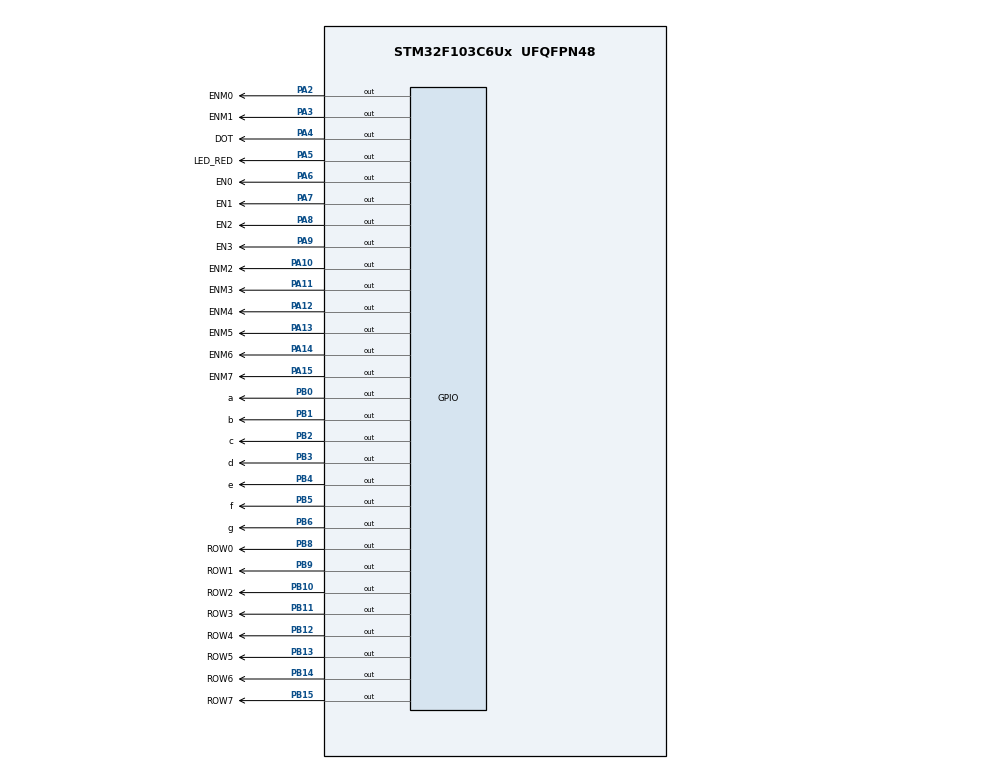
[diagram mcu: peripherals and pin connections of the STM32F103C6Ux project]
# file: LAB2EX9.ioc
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Mcu.Family=STM32F1
Mcu.Name=STM32F103C6Ux
Mcu.Package=UFQFPN48
NVIC.PriorityGroup=NVIC_PRIORITYGROUP_4
NVIC.TIM2_IRQn=true\:0\:0\:false\:false\:true\:true\:true
PA10.GPIO_Label=ENM2
PA10.Signal=GPIO_Output
PA11.GPIO_Label=ENM3
PA11.Signal=GPIO_Output
PA12.GPIO_Label=ENM4
PA12.Signal=GPIO_Output
PA13.GPIO_Label=ENM5
PA13.Signal=GPIO_Output
PA14.GPIO_Label=ENM6
PA14.Signal=GPIO_Output
PA15.GPIO_Label=ENM7
PA15.Signal=GPIO_Output
PA2.GPIO_Label=ENM0
PA2.Signal=GPIO_Output
PA3.GPIO_Label=ENM1
PA3.Signal=GPIO_Output
PA4.GPIO_Label=DOT
PA4.Signal=GPIO_Output
PA5.GPIO_Label=LED_RED
PA5.Signal=GPIO_Output
PA6.GPIO_Label=EN0
PA6.Signal=GPIO_Output
PA7.GPIO_Label=EN1
PA7.Signal=GPIO_Output
PA8.GPIO_Label=EN2
PA8.Signal=GPIO_Output
PA9.GPIO_Label=EN3
PA9.Signal=GPIO_Output
PB0.GPIO_Label=a
PB0.Signal=GPIO_Output
PB1.GPIO_Label=b
PB1.Signal=GPIO_Output
PB10.GPIO_Label=ROW2
PB10.Signal=GPIO_Output
PB11.GPIO_Label=ROW3
PB11.Signal=GPIO_Output
PB12.GPIO_Label=ROW4
PB12.Signal=GPIO_Output
PB13.GPIO_Label=ROW5
PB13.Signal=GPIO_Output
PB14.GPIO_Label=ROW6
PB14.Signal=GPIO_Output
PB15.GPIO_Label=ROW7
PB15.Signal=GPIO_Output
PB2.GPIO_Label=c
PB2.Signal=GPIO_Output
PB3.GPIO_Label=d
PB3.Signal=GPIO_Output
PB4.GPIO_Label=e
PB4.Signal=GPIO_Output
PB5.GPIO_Label=f
PB5.Signal=GPIO_Output
PB6.GPIO_Label=g
PB6.Signal=GPIO_Output
PB8.GPIO_Label=ROW0
PB8.Signal=GPIO_Output
PB9.GPIO_Label=ROW1
PB9.Signal=GPIO_Output
ProjectManager.HeapSize=0x200
ProjectManager.StackSize=0x400
ProjectManager.TargetToolchain=STM32CubeIDE
RCC.APB1Freq_Value=8000000
RCC.APB2Freq_Value=8000000
TIM2.Period=9
TIM2.Prescaler=7999
VP_SYS_VS_ND.Mode=No_Debug
VP_TIM2_VS_ClockSourceINT.Mode=Internal
board=custom

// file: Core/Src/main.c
/* USER CODE BEGIN Header */
/**
  ******************************************************************************
  * @file           : main.c
  * @brief          : Main program body
  ******************************************************************************
  */
/* USER CODE END Header */

#include "main.h"

TIM_HandleTypeDef htim2;

void SystemClock_Config(void);
static void MX_GPIO_Init(void);
static void MX_TIM2_Init(void);

/* USER CODE BEGIN 0 */

void display7SEG(int num)
{
    switch (num)
    {
    case 0:
        HAL_GPIO_WritePin(GPIOB, a_Pin, GPIO_PIN_RESET);
        HAL_GPIO_WritePin(GPIOB, b_Pin, GPIO_PIN_RESET);
        HAL_GPIO_WritePin(GPIOB, c_Pin, GPIO_PIN_RESET);
        HAL_GPIO_WritePin(GPIOB, d_Pin, GPIO_PIN_RESET);
        HAL_GPIO_WritePin(GPIOB, e_Pin, GPIO_PIN_RESET);
        HAL_GPIO_WritePin(GPIOB, f_Pin, GPIO_PIN_RESET);
        HAL_GPIO_WritePin(GPIOB, g_Pin, GPIO_PIN_SET);
        break;

    case 1:
        HAL_GPIO_WritePin(GPIOB, a_Pin, GPIO_PIN_SET);
        HAL_GPIO_WritePin(GPIOB, b_Pin, GPIO_PIN_RESET);
        HAL_GPIO_WritePin(GPIOB, c_Pin, GPIO_PIN_RESET);
        HAL_GPIO_WritePin(GPIOB, d_Pin, GPIO_PIN_SET);
        HAL_GPIO_WritePin(GPIOB, e_Pin, GPIO_PIN_SET);
        HAL_GPIO_WritePin(GPIOB, f_Pin, GPIO_PIN_SET);
        HAL_GPIO_WritePin(GPIOB, g_Pin, GPIO_PIN_SET);
        break;

    case 2:
        HAL_GPIO_WritePin(GPIOB, a_Pin, GPIO_PIN_RESET);
        HAL_GPIO_WritePin(GPIOB, b_Pin, GPIO_PIN_RESET);
        HAL_GPIO_WritePin(GPIOB, c_Pin, GPIO_PIN_SET);
        HAL_GPIO_WritePin(GPIOB, d_Pin, GPIO_PIN_RESET);
        HAL_GPIO_WritePin(GPIOB, e_Pin, GPIO_PIN_RESET);
        HAL_GPIO_WritePin(GPIOB, f_Pin, GPIO_PIN_SET);
        HAL_GPIO_WritePin(GPIOB, g_Pin, GPIO_PIN_RESET);
        break;

    case 3:
        HAL_GPIO_WritePin(GPIOB, a_Pin, GPIO_PIN_RESET);
        HAL_GPIO_WritePin(GPIOB, b_Pin, GPIO_PIN_RESET);
        HAL_GPIO_WritePin(GPIOB, c_Pin, GPIO_PIN_RESET);
        HAL_GPIO_WritePin(GPIOB, d_Pin, GPIO_PIN_RESET);
        HAL_GPIO_WritePin(GPIOB, e_Pin, GPIO_PIN_SET);
        HAL_GPIO_WritePin(GPIOB, f_Pin, GPIO_PIN_SET);
        HAL_GPIO_WritePin(GPIOB, g_Pin, GPIO_PIN_RESET);
        break;

    case 4:
        HAL_GPIO_WritePin(GPIOB, a_Pin, GPIO_PIN_SET);
        HAL_GPIO_WritePin(GPIOB, b_Pin, GPIO_PIN_RESET);
        HAL_GPIO_WritePin(GPIOB, c_Pin, GPIO_PIN_RESET);
        HAL_GPIO_WritePin(GPIOB, d_Pin, GPIO_PIN_SET);
        HAL_GPIO_WritePin(GPIOB, e_Pin, GPIO_PIN_SET);
        HAL_GPIO_WritePin(GPIOB, f_Pin, GPIO_PIN_RESET);
        HAL_GPIO_WritePin(GPIOB, g_Pin, GPIO_PIN_RESET);
        break;

    case 5:
        HAL_GPIO_WritePin(GPIOB, a_Pin, GPIO_PIN_RESET);
        HAL_GPIO_WritePin(GPIOB, b_Pin, GPIO_PIN_SET);
        HAL_GPIO_WritePin(GPIOB, c_Pin, GPIO_PIN_RESET);
        HAL_GPIO_WritePin(GPIOB, d_Pin, GPIO_PIN_RESET);
        HAL_GPIO_WritePin(GPIOB, e_Pin, GPIO_PIN_SET);
        HAL_GPIO_WritePin(GPIOB, f_Pin, GPIO_PIN_RESET);
        HAL_GPIO_WritePin(GPIOB, g_Pin, GPIO_PIN_RESET);
        break;

    case 6:
        HAL_GPIO_WritePin(GPIOB, a_Pin, GPIO_PIN_RESET);
        HAL_GPIO_WritePin(GPIOB, b_Pin, GPIO_PIN_SET);
        HAL_GPIO_WritePin(GPIOB, c_Pin, GPIO_PIN_RESET);
        HAL_GPIO_WritePin(GPIOB, d_Pin, GPIO_PIN_RESET);
        HAL_GPIO_WritePin(GPIOB, e_Pin, GPIO_PIN_RESET);
        HAL_GPIO_WritePin(GPIOB, f_Pin, GPIO_PIN_RESET);
        HAL_GPIO_WritePin(GPIOB, g_Pin, GPIO_PIN_RESET);
        break;

    case 7:
        HAL_GPIO_WritePin(GPIOB, a_Pin, GPIO_PIN_RESET);
        HAL_GPIO_WritePin(GPIOB, b_Pin, GPIO_PIN_RESET);
        HAL_GPIO_WritePin(GPIOB, c_Pin, GPIO_PIN_RESET);
        HAL_GPIO_WritePin(GPIOB, d_Pin, GPIO_PIN_SET);
        HAL_GPIO_WritePin(GPIOB, e_Pin, GPIO_PIN_SET);
        HAL_GPIO_WritePin(GPIOB, f_Pin, GPIO_PIN_SET);
        HAL_GPIO_WritePin(GPIOB, g_Pin, GPIO_PIN_SET);
        break;

    case 8:
        HAL_GPIO_WritePin(GPIOB, a_Pin, GPIO_PIN_RESET);
        HAL_GPIO_WritePin(GPIOB, b_Pin, GPIO_PIN_RESET);
        HAL_GPIO_WritePin(GPIOB, c_Pin, GPIO_PIN_RESET);
        HAL_GPIO_WritePin(GPIOB, d_Pin, GPIO_PIN_RESET);
        HAL_GPIO_WritePin(GPIOB, e_Pin, GPIO_PIN_RESET);
        HAL_GPIO_WritePin(GPIOB, f_Pin, GPIO_PIN_RESET);
        HAL_GPIO_WritePin(GPIOB, g_Pin, GPIO_PIN_RESET);
        break;

    case 9:
        HAL_GPIO_WritePin(GPIOB, a_Pin, GPIO_PIN_RESET);
        HAL_GPIO_WritePin(GPIOB, b_Pin, GPIO_PIN_RESET);
        HAL_GPIO_WritePin(GPIOB, c_Pin, GPIO_PIN_RESET);
        HAL_GPIO_WritePin(GPIOB, d_Pin, GPIO_PIN_RESET);
        HAL_GPIO_WritePin(GPIOB, e_Pin, GPIO_PIN_SET);
        HAL_GPIO_WritePin(GPIOB, f_Pin, GPIO_PIN_RESET);
        HAL_GPIO_WritePin(GPIOB, g_Pin, GPIO_PIN_RESET);
        break;

    default:
        break;
    }
}

const int MAX_LED = 4;

int index_led = 0;

int led_buffer[4];

void update7SEG(int index)
{
    /* Turn off all displays first */

    HAL_GPIO_WritePin(GPIOA, EN0_Pin, GPIO_PIN_SET);
    HAL_GPIO_WritePin(GPIOA, EN1_Pin, GPIO_PIN_SET);
    HAL_GPIO_WritePin(GPIOA, EN2_Pin, GPIO_PIN_SET);
    HAL_GPIO_WritePin(GPIOA, EN3_Pin, GPIO_PIN_SET);

    switch (index)
    {
        case 0:
            display7SEG(led_buffer[0]);
            HAL_GPIO_WritePin(GPIOA, EN0_Pin, GPIO_PIN_RESET);
            break;

        case 1:
            display7SEG(led_buffer[1]);
            HAL_GPIO_WritePin(GPIOA, EN1_Pin, GPIO_PIN_RESET);
            break;

        case 2:
            display7SEG(led_buffer[2]);
            HAL_GPIO_WritePin(GPIOA, EN2_Pin, GPIO_PIN_RESET);
            break;

        case 3:
            display7SEG(led_buffer[3]);
            HAL_GPIO_WritePin(GPIOA, EN3_Pin, GPIO_PIN_RESET);
            break;

        default:
            break;
    }
}

/* ============================================================================
 * CLOCK
 * ============================================================================ */

int hour = 15;
int minute = 8;
int second = 50;

void updateClockBuffer(void)
{
    led_buffer[0] = hour / 10;
    led_buffer[1] = hour % 10;
    led_buffer[2] = minute / 10;
    led_buffer[3] = minute % 10;
}

/* ============================================================================
 * SOFTWARE TIMERS
 * ============================================================================ */

#define TIMER_CYCLE 10

int timer0_counter = 0;
int timer0_flag = 0;

int timer1_counter = 0;
int timer1_flag = 0;

int timer2_counter = 0;
int timer2_flag = 0;

int timer3_counter = 0;
int timer3_flag = 0;

void setTimer0(int duration)
{
    timer0_counter = duration / TIMER_CYCLE;
    timer0_flag = 0;
}

void setTimer1(int duration)
{
    timer1_counter = duration / TIMER_CYCLE;
    timer1_flag = 0;
}

void setTimer2(int duration)
{
    timer2_counter = duration / TIMER_CYCLE;
    timer2_flag = 0;
}

void setTimer3(int duration)
{
    timer3_counter = duration / TIMER_CYCLE;
    timer3_flag = 0;
}

void timer_run(void)
{
    if (timer0_counter > 0)
    {
        timer0_counter--;

        if (timer0_counter == 0)
            timer0_flag = 1;
    }

    if (timer1_counter > 0)
    {
        timer1_counter--;

        if (timer1_counter == 0)
            timer1_flag = 1;
    }

    if (timer2_counter > 0)
    {
        timer2_counter--;

        if (timer2_counter == 0)
            timer2_flag = 1;
    }

    if (timer3_counter > 0)
    {
        timer3_counter--;

        if (timer3_counter == 0)
            timer3_flag = 1;
    }
}

#define MAX_LED_MATRIX 8

int index_led_matrix = 0;
int matrix_shift_count = 0;

const uint8_t matrix_A[8] =
{
    0x00,
    0xFC,
    0x12,
    0x11,
    0x11,
    0x12,
    0xFC,
    0x00
};

uint8_t matrix_buffer[8] =
{
    0x00,
    0xFC,
    0x12,
    0x11,
    0x11,
    0x12,
    0xFC,
    0x00
};

void turnOffMatrix(void)
{
    HAL_GPIO_WritePin(GPIOA, ENM0_Pin, GPIO_PIN_SET);
    HAL_GPIO_WritePin(GPIOA, ENM1_Pin, GPIO_PIN_SET);
    HAL_GPIO_WritePin(GPIOA, ENM2_Pin, GPIO_PIN_SET);
    HAL_GPIO_WritePin(GPIOA, ENM3_Pin, GPIO_PIN_SET);
    HAL_GPIO_WritePin(GPIOA, ENM4_Pin, GPIO_PIN_SET);
    HAL_GPIO_WritePin(GPIOA, ENM5_Pin, GPIO_PIN_SET);
    HAL_GPIO_WritePin(GPIOA, ENM6_Pin, GPIO_PIN_SET);
    HAL_GPIO_WritePin(GPIOA, ENM7_Pin, GPIO_PIN_SET);
}

void writeMatrixRows(uint8_t data)
{
    HAL_GPIO_WritePin(
        GPIOB,
        ROW0_Pin,
        (data & 0x01) ? GPIO_PIN_RESET : GPIO_PIN_SET
    );

    HAL_GPIO_WritePin(
        GPIOB,
        ROW1_Pin,
        (data & 0x02) ? GPIO_PIN_RESET : GPIO_PIN_SET
    );

    HAL_GPIO_WritePin(
        GPIOB,
        ROW2_Pin,
        (data & 0x04) ? GPIO_PIN_RESET : GPIO_PIN_SET
    );

    HAL_GPIO_WritePin(
        GPIOB,
        ROW3_Pin,
        (data & 0x08) ? GPIO_PIN_RESET : GPIO_PIN_SET
    );

    HAL_GPIO_WritePin(
        GPIOB,
        ROW4_Pin,
        (data & 0x10) ? GPIO_PIN_RESET : GPIO_PIN_SET
    );

    HAL_GPIO_WritePin(
        GPIOB,
        ROW5_Pin,
        (data & 0x20) ? GPIO_PIN_RESET : GPIO_PIN_SET
    );

    HAL_GPIO_WritePin(
        GPIOB,
        ROW6_Pin,
        (data & 0x40) ? GPIO_PIN_RESET : GPIO_PIN_SET
    );

    HAL_GPIO_WritePin(
        GPIOB,
        ROW7_Pin,
        (data & 0x80) ? GPIO_PIN_RESET : GPIO_PIN_SET
    );
}

void updateLEDMatrix(int index)
{
    if (index < 0 || index >= MAX_LED_MATRIX)
        return;

    turnOffMatrix();

    writeMatrixRows(matrix_buffer[index]);

    switch (index)
    {
        case 0:
            HAL_GPIO_WritePin(GPIOA, ENM0_Pin, GPIO_PIN_RESET);
            break;

        case 1:
            HAL_GPIO_WritePin(GPIOA, ENM1_Pin, GPIO_PIN_RESET);
            break;

        case 2:
            HAL_GPIO_WritePin(GPIOA, ENM2_Pin, GPIO_PIN_RESET);
            break;

        case 3:
            HAL_GPIO_WritePin(GPIOA, ENM3_Pin, GPIO_PIN_RESET);
            break;

        case 4:
            HAL_GPIO_WritePin(GPIOA, ENM4_Pin, GPIO_PIN_RESET);
            break;

        case 5:
            HAL_GPIO_WritePin(GPIOA, ENM5_Pin, GPIO_PIN_RESET);
            break;

        case 6:
            HAL_GPIO_WritePin(GPIOA, ENM6_Pin, GPIO_PIN_RESET);
            break;

        case 7:
            HAL_GPIO_WritePin(GPIOA, ENM7_Pin, GPIO_PIN_RESET);
            break;

        default:
            break;
    }
}

/* ============================================================================
 * MATRIX SCAN
 * ============================================================================ */

void matrixScanTask(void)
{
    static uint32_t last_scan = 0;

    if ((HAL_GetTick() - last_scan) >= 2)
    {
        last_scan = HAL_GetTick();

        updateLEDMatrix(index_led_matrix);

        index_led_matrix++;

        if (index_led_matrix >= MAX_LED_MATRIX)
        {
            index_led_matrix = 0;
        }
    }
}

/* ============================================================================
 * LOAD LETTER A
 * ============================================================================ */

void loadLetterA(void)
{
    int i;

    for (i = 0; i < MAX_LED_MATRIX; i++)
    {
        matrix_buffer[i] = matrix_A[i];
    }

    index_led_matrix = 0;
    matrix_shift_count = 0;
}

/* ============================================================================
 * SHIFT MATRIX LEFT
 * ============================================================================ */

void shiftMatrixLeft(void)
{
    int i;

    for (i = 0; i < MAX_LED_MATRIX - 1; i++)
    {
        matrix_buffer[i] = matrix_buffer[i + 1];
    }

    matrix_buffer[MAX_LED_MATRIX - 1] = 0x00;

    matrix_shift_count++;

    if (matrix_shift_count >= MAX_LED_MATRIX)
    {
        loadLetterA();
    }
}

/* USER CODE END 0 */

int main(void)
{
    HAL_Init();

    SystemClock_Config();

    /*
     * PA13 / PA14 / PA15 are used by ENM5 / ENM6 / ENM7.
     * Release these pins from JTAG/SWD.
     */
    __HAL_RCC_AFIO_CLK_ENABLE();
    __HAL_AFIO_REMAP_SWJ_DISABLE();

    MX_GPIO_Init();
    MX_TIM2_Init();

    /* Start TIM2 interrupt */
    HAL_TIM_Base_Start_IT(&htim2);

    /* Initialize clock */
    updateClockBuffer();

    /* Initialize matrix */
    loadLetterA();

    /* Software timers */

    setTimer0(1000);

    /* 10 ms refresh for 7 segment */
    setTimer1(10);

    setTimer2(10);

    /* Move matrix every 500 ms */
    setTimer3(500);

    while (1)
    {
        /* =====================================================
         * CLOCK
         * ===================================================== */

        if (timer0_flag == 1)
        {
            second++;

            if (second >= 60)
            {
                second = 0;
                minute++;
            }

            if (minute >= 60)
            {
                minute = 0;
                hour++;
            }

            if (hour >= 24)
            {
                hour = 0;
            }

            updateClockBuffer();

            HAL_GPIO_TogglePin(GPIOA, DOT_Pin);

            setTimer0(1000);
        }

        /* =====================================================
         * 7-SEGMENT
         * ===================================================== */

        if (timer1_flag == 1)
        {
            update7SEG(index_led);

            index_led++;

            if (index_led >= MAX_LED)
            {
                index_led = 0;
            }

            setTimer1(10);
        }

        /* =====================================================
         * MATRIX SCAN
         * ===================================================== */

        matrixScanTask();

        /* =====================================================
         * MATRIX SHIFT
         * ===================================================== */

        if (timer3_flag == 1)
        {
            shiftMatrixLeft();

            setTimer3(500);
        }
    }
}

/* ============================================================================
 * SYSTEM CLOCK
 * ============================================================================ */

void SystemClock_Config(void)
{
    RCC_OscInitTypeDef RCC_OscInitStruct = {0};
    RCC_ClkInitTypeDef RCC_ClkInitStruct = {0};

    RCC_OscInitStruct.OscillatorType =
        RCC_OSCILLATORTYPE_HSI;

    RCC_OscInitStruct.HSIState =
        RCC_HSI_ON;

    RCC_OscInitStruct.HSICalibrationValue =
        RCC_HSICALIBRATION_DEFAULT;

    RCC_OscInitStruct.PLL.PLLState =
        RCC_PLL_NONE;

    if (HAL_RCC_OscConfig(&RCC_OscInitStruct) != HAL_OK)
    {
        Error_Handler();
    }

    RCC_ClkInitStruct.ClockType =
          RCC_CLOCKTYPE_HCLK
        | RCC_CLOCKTYPE_SYSCLK
        | RCC_CLOCKTYPE_PCLK1
        | RCC_CLOCKTYPE_PCLK2;

    RCC_ClkInitStruct.SYSCLKSource =
        RCC_SYSCLKSOURCE_HSI;

    RCC_ClkInitStruct.AHBCLKDivider =
        RCC_SYSCLK_DIV1;

    RCC_ClkInitStruct.APB1CLKDivider =
        RCC_HCLK_DIV1;

    RCC_ClkInitStruct.APB2CLKDivider =
        RCC_HCLK_DIV1;

    if (HAL_RCC_ClockConfig(
            &RCC_ClkInitStruct,
            FLASH_LATENCY_0) != HAL_OK)
    {
        Error_Handler();
    }
}

/* ============================================================================
 * TIM2
 * ============================================================================ */

static void MX_TIM2_Init(void)
{
    TIM_ClockConfigTypeDef sClockSourceConfig = {0};
    TIM_MasterConfigTypeDef sMasterConfig = {0};

    htim2.Instance = TIM2;

    htim2.Init.Prescaler = 7999;

    htim2.Init.CounterMode =
        TIM_COUNTERMODE_UP;

    htim2.Init.Period = 9;

    htim2.Init.ClockDivision =
        TIM_CLOCKDIVISION_DIV1;

    htim2.Init.AutoReloadPreload =
        TIM_AUTORELOAD_PRELOAD_DISABLE;

    if (HAL_TIM_Base_Init(&htim2) != HAL_OK)
    {
        Error_Handler();
    }

    sClockSourceConfig.ClockSource =
        TIM_CLOCKSOURCE_INTERNAL;

    if (HAL_TIM_ConfigClockSource(
            &htim2,
            &sClockSourceConfig) != HAL_OK)
    {
        Error_Handler();
    }

    sMasterConfig.MasterOutputTrigger =
        TIM_TRGO_RESET;

    sMasterConfig.MasterSlaveMode =
        TIM_MASTERSLAVEMODE_DISABLE;

    if (HAL_TIMEx_MasterConfigSynchronization(
            &htim2,
            &sMasterConfig) != HAL_OK)
    {
        Error_Handler();
    }
}

static void MX_GPIO_Init(void)
{
    GPIO_InitTypeDef GPIO_InitStruct = {0};

    __HAL_RCC_GPIOA_CLK_ENABLE();
    __HAL_RCC_GPIOB_CLK_ENABLE();
    __HAL_RCC_AFIO_CLK_ENABLE();

    HAL_GPIO_WritePin(
        GPIOA,
          ENM0_Pin
        | ENM1_Pin
        | ENM2_Pin
        | ENM3_Pin
        | ENM4_Pin
        | ENM5_Pin
        | ENM6_Pin
        | ENM7_Pin,
        GPIO_PIN_SET
    );

    HAL_GPIO_WritePin(
        GPIOA,
          DOT_Pin
        | LED_RED_Pin
        | EN0_Pin
        | EN1_Pin
        | EN2_Pin
        | EN3_Pin,
        GPIO_PIN_RESET
    );

    HAL_GPIO_WritePin(
        GPIOB,
          ROW0_Pin
        | ROW1_Pin
        | ROW2_Pin
        | ROW3_Pin
        | ROW4_Pin
        | ROW5_Pin
        | ROW6_Pin
        | ROW7_Pin,
        GPIO_PIN_SET
    );

    HAL_GPIO_WritePin(
        GPIOB,
          a_Pin
        | b_Pin
        | c_Pin
        | d_Pin
        | e_Pin
        | f_Pin
        | g_Pin,
        GPIO_PIN_RESET
    );

    GPIO_InitStruct.Pin =
          ENM0_Pin
        | ENM1_Pin
        | DOT_Pin
        | LED_RED_Pin
        | EN0_Pin
        | EN1_Pin
        | EN2_Pin
        | EN3_Pin
        | ENM2_Pin
        | ENM3_Pin
        | ENM4_Pin
        | ENM5_Pin
        | ENM6_Pin
        | ENM7_Pin;

    GPIO_InitStruct.Mode =
        GPIO_MODE_OUTPUT_PP;

    GPIO_InitStruct.Pull =
        GPIO_NOPULL;

    GPIO_InitStruct.Speed =
        GPIO_SPEED_FREQ_LOW;

    HAL_GPIO_Init(GPIOA, &GPIO_InitStruct);

    GPIO_InitStruct.Pin =
          a_Pin
        | b_Pin
        | c_Pin
        | d_Pin
        | e_Pin
        | f_Pin
        | g_Pin
        | ROW0_Pin
        | ROW1_Pin
        | ROW2_Pin
        | ROW3_Pin
        | ROW4_Pin
        | ROW5_Pin
        | ROW6_Pin
        | ROW7_Pin;

    GPIO_InitStruct.Mode =
        GPIO_MODE_OUTPUT_PP;

    GPIO_InitStruct.Pull =
        GPIO_NOPULL;

    GPIO_InitStruct.Speed =
        GPIO_SPEED_FREQ_LOW;

    HAL_GPIO_Init(GPIOB, &GPIO_InitStruct);

    /*
     * Free PA13 / PA14 / PA15
     */
    __HAL_AFIO_REMAP_SWJ_DISABLE();
}

void HAL_TIM_PeriodElapsedCallback(TIM_HandleTypeDef *htim)
{
    if (htim->Instance == TIM2)
    {
        timer_run();
    }
}

void Error_Handler(void)
{
    __disable_irq();

    while (1)
    {
    }
}
